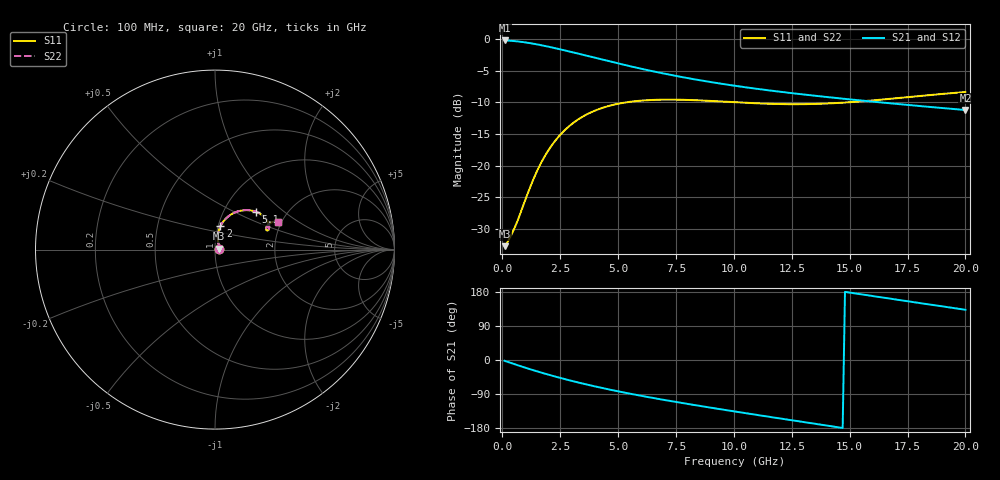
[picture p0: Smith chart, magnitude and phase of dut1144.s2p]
! Touchstone file exported from HFSS 2024.1.0
!  File:  C:/UserFiles/LocalFiles/RDL_TSV_Batchsim/temp_RDL_TSV_1144_1780114932.aedt
!  Generated:  12:41:45 PM May 30, 2026
!  Design:  RDL_TSV
!  Project:  temp_RDL_TSV_1144_1780114932
!  Setup:  Setup1
!  Solution:  Sweep
! Variables:
!  dtsv = 12.02um
!  hbump = 3um
!  htsv = 76.42um
!  ldown = 633.63um
!  lrdl = 323.24um
!  p = 40
!  p1 = 56.38um
!  rhole = 10um
!  subl = 3193.85um
!  t = 450um
!  tdown = 3.01um
!  trdl = 4.65um
!  viad = 10um
!  wdown = 12.78um
!  wrdl = 18.85um
!  xbump = 18um
# GHz S MA R 50.000000
! Terminal data exported
! Port[1] = TM1_1_T1
! Port[2] = TM1_4_T1
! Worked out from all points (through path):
!   200 points, 100 MHz to 20 GHz, reference 50 ohm
!   highest |S21| = -0.20 dB at 100 MHz (marker M1); lowest = -11.2 dB at 20 GHz (marker M2)
!   group delay of S21, straight-line fit = 29.4 ps
!   lowest |S11| = -32.8 dB at 100 MHz (marker M3), VSWR 1.05, Z = 52.3 + j0.494 ohm
!   |S11| at or under -10 dB: start of sweep to 5.345 GHz; 10.16 GHz to 14.91 GHz (4.743 GHz wide, 37.8 % of centre)
!   |S22| runs from -32.8 to -8.3 dB; largest |S21 - S12| = 4.7e-14
!   S11 on the Smith chart (normalised r, x): 100 MHz: 1.05, +0.01; 2 GHz: 1.03, +0.27; 5.1 GHz: 1.41, +0.66; 20 GHz: 1.91, +0.69
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0.1  0.02304 11.8  0.9769 -2.1  0.9769 -2.1  0.02304 11.8
! Gamma 0 0 0 0
! Port Impedance 50 0 50 0
0.3  0.0263 31.5  0.9732 -6.3  0.9732 -6.3  0.0263 31.5
0.5  0.03121 47.1  0.967 -10.5  0.967 -10.5  0.0312 47.1
1.1  0.06034 74.7  0.9367 -22.4  0.9367 -22.4  0.06036 74.8
1.5  0.09038 79.0  0.9096 -29.9  0.9096 -29.9  0.09044 79.1
2  0.1328 77.1  0.8715 -38.8  0.8715 -38.8  0.1329 77.1
2.3  0.1584 74.1  0.8475 -43.9  0.8475 -43.9  0.1586 74.2
2.7  0.1908 69.5  0.815 -50.4  0.815 -50.4  0.191 69.5
3.1  0.2201 64.5  0.7827 -56.6  0.7827 -56.6  0.2204 64.5
3.5  0.2456 59.6  0.7509 -62.6  0.7509 -62.6  0.246 59.6
4.2  0.281 51.5  0.6981 -72.3  0.6981 -72.3  0.2815 51.6
5.1  0.3108 42.6  0.6367 -83.9  0.6367 -83.9  0.3113 42.7
5.9  0.3253 36.1  0.589 -93.4  0.589 -93.4  0.326 36.2
6.8  0.332 30.3  0.5429 -103.4  0.5429 -103.4  0.3328 30.4
8.3  0.3292 23.8  0.4813 -118.9  0.4813 -118.9  0.3302 23.8
10.1  0.3167 20.3  0.4265 -136.4  0.4265 -136.4  0.3179 20.3
11.7  0.3076 20.3  0.3897 -151.5  0.3897 -151.5  0.3089 20.2
13.4  0.307 22.2  0.3585 -167.3  0.3585 -167.3  0.3082 22.1
15  0.3171 24.4  0.3341 177.9  0.3341 177.9  0.3181 24.2
16.7  0.3367 25.7  0.3115 162.3  0.3115 162.3  0.3375 25.4
18.4  0.3605 25.4  0.2917 146.9  0.2917 146.9  0.3611 25.2
20  0.382 24.0  0.2751 132.6  0.2751 132.6  0.3825 23.8
